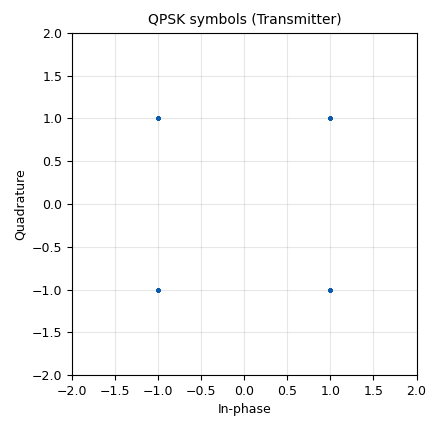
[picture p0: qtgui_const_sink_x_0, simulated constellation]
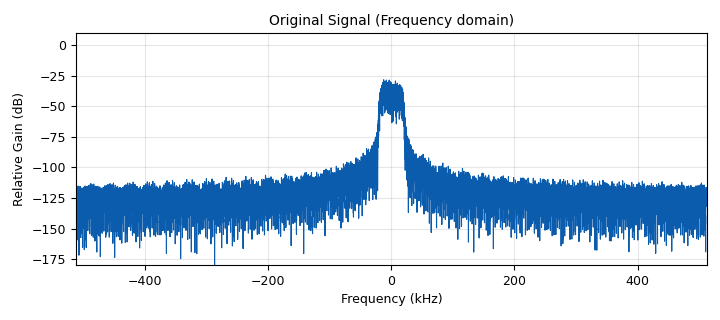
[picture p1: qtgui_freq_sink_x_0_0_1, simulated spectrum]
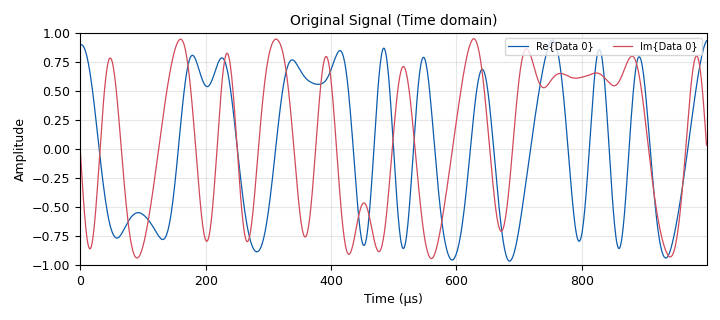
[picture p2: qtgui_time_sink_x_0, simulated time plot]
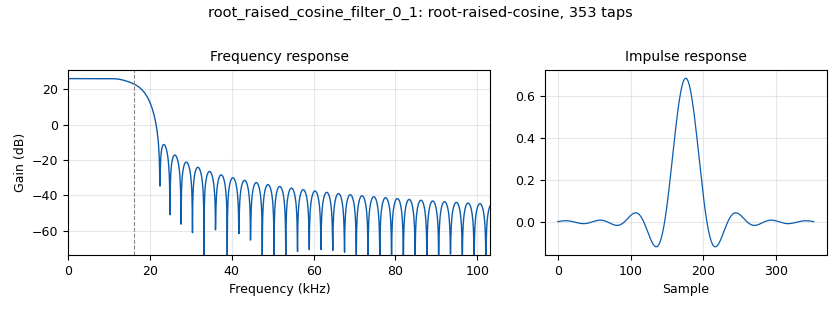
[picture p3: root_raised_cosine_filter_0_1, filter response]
options:
  parameters:
    author: native
    generate_options: qt_gui
    id: default
    output_language: python
    title: Not titled yet
  states: {}

blocks:
- name: alpha
  id: variable_qtgui_range
  parameters:
    gui_hint: 3,0,1,2
    start: '0'
    step: '0.05'
    stop: '1'
    value: '0.35'
  states: {}
- name: fc
  id: variable
  parameters:
    value: 910e6
  states: {}
- name: packet_len
  id: variable
  parameters:
    value: '64'
  states: {}
- name: preamble_len
  id: variable
  parameters:
    value: '10'
  states: {}
- name: qpsk
  id: variable
  parameters:
    value: '[-1-1j,-1+1j,1+1j,1-1j]'
  states: {}
- name: samp_rate
  id: variable
  parameters:
    value: 1.024e6
  states: {}
- name: tx_gain
  id: variable_qtgui_range
  parameters:
    gui_hint: 2,0,1,2
    start: '0'
    step: '0.02'
    stop: '1'
    value: '0.8'
  states: {}
- name: analog_random_source_x_0
  id: analog_random_source_x
  parameters:
    max: '4'
    min: '0'
    num_samps: '1000000'
    repeat: 'True'
    type: int
  states: {}
- name: blocks_stream_to_tagged_stream_0
  id: blocks_stream_to_tagged_stream
  parameters:
    len_tag_key: '"packet_len"'
    packet_len: packet_len
    type: int
  states: {}
- name: blocks_stream_to_tagged_stream_0_0
  id: blocks_stream_to_tagged_stream
  parameters:
    len_tag_key: '"packet_len"'
    packet_len: preamble_len
    type: int
  states: {}
- name: blocks_tagged_stream_mux_0
  id: blocks_tagged_stream_mux
  parameters:
    lengthtagname: '"packet_len"'
    ninputs: '2'
    type: complex
  states: {}
- name: blocks_vector_source_x_0
  id: blocks_vector_source_x
  parameters:
    repeat: 'True'
    type: int
    vector: (0,1,2,3,2)*2
  states: {}
- name: digital_chunks_to_symbols_xx_0
  id: digital_chunks_to_symbols_xx
  parameters:
    dimension: '1'
    in_type: int
    out_type: complex
    symbol_table: qpsk
  states: {}
- name: digital_chunks_to_symbols_xx_0_0
  id: digital_chunks_to_symbols_xx
  parameters:
    dimension: '1'
    in_type: int
    out_type: complex
    symbol_table: qpsk
  states: {}
- name: qtgui_const_sink_x_0
  id: qtgui_const_sink_x
  parameters:
    grid: 'True'
    gui_hint: 0,0,2,2
    name: '"QPSK symbols (Transmitter)"'
    size: '1024'
    type: complex
  states: {}
- name: qtgui_freq_sink_x_0_0_1
  id: qtgui_freq_sink_x
  parameters:
    bw: samp_rate
    fc: '0'
    fftsize: '32768'
    grid: 'True'
    gui_hint: 4,0,2,2
    name: '"Original Signal (Frequency domain)"'
    type: complex
    ymin: '-180'
  states: {}
- name: qtgui_time_sink_x_0
  id: qtgui_time_sink_x
  parameters:
    gui_hint: 6,0,2,2
    name: '"Original Signal (Time domain)"'
    size: '1024'
    srate: samp_rate
    type: complex
  states: {}
- name: qtgui_time_sink_x_0_0
  id: qtgui_time_sink_x
  parameters:
    gui_hint: 6,0,2,2
    name: '"Original Signal (Time domain)"'
    size: '1024'
    srate: samp_rate
    type: complex
  states: {state: disabled}
- name: qtgui_time_sink_x_0_0_0
  id: qtgui_time_sink_x
  parameters:
    gui_hint: 6,0,2,2
    name: '"Original Signal (Time domain)"'
    size: '1024'
    srate: samp_rate
    type: complex
  states: {state: disabled}
- name: root_raised_cosine_filter_0_1
  id: root_raised_cosine_filter
  parameters:
    alpha: alpha
    gain: '20'
    interp: '32'
    ntaps: '352'
    samp_rate: samp_rate
    sym_rate: 32e3
    type: interp_fir_filter_ccf
  states: {}
- name: uhd_usrp_sink_0
  id: uhd_usrp_sink
  parameters:
    ant0: '"TX/RX"'
    center_freq0: fc
    gain0: tx_gain
    gain_type0: normalized
    samp_rate: samp_rate
    sync: sync
    type: fc32
  states: {}
- name: virtual_sink_0
  id: virtual_sink
  parameters:
    stream_id: packet
  states: {}
- name: virtual_source_0
  id: virtual_source
  parameters:
    stream_id: packet
  states: {}

connections:
- [analog_random_source_x_0, '0', blocks_stream_to_tagged_stream_0, '0']
- [blocks_stream_to_tagged_stream_0, '0', digital_chunks_to_symbols_xx_0_0, '0']
- [blocks_stream_to_tagged_stream_0_0, '0', digital_chunks_to_symbols_xx_0, '0']
- [blocks_tagged_stream_mux_0, '0', virtual_sink_0, '0']
- [blocks_vector_source_x_0, '0', blocks_stream_to_tagged_stream_0_0, '0']
- [digital_chunks_to_symbols_xx_0, '0', blocks_tagged_stream_mux_0, '0']
- [digital_chunks_to_symbols_xx_0, '0', qtgui_time_sink_x_0_0_0, '0']
- [digital_chunks_to_symbols_xx_0_0, '0', blocks_tagged_stream_mux_0, '1']
- [root_raised_cosine_filter_0_1, '0', qtgui_freq_sink_x_0_0_1, '0']
- [root_raised_cosine_filter_0_1, '0', qtgui_time_sink_x_0, '0']
- [root_raised_cosine_filter_0_1, '0', uhd_usrp_sink_0, '0']
- [virtual_source_0, '0', qtgui_const_sink_x_0, '0']
- [virtual_source_0, '0', qtgui_time_sink_x_0_0, '0']
- [virtual_source_0, '0', root_raised_cosine_filter_0_1, '0']

metadata:
  file_format: 1
  grc_version: 3.10.9.2
